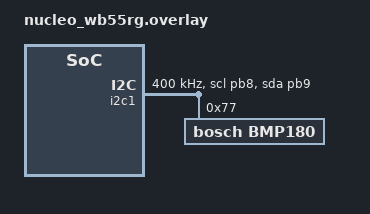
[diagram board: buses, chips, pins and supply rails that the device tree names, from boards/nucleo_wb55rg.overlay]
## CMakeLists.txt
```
cmake_minimum_required(VERSION 3.20.0)

find_package(Zephyr REQUIRED HINTS $ENV{ZEPHYR_BASE})

project(ble_beacon)

target_sources(app PRIVATE 
    src/main.c
    src/ble_service.c
)
```

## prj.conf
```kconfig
# Enable Bluetooth
CONFIG_BT=y
CONFIG_BT_PERIPHERAL=y
CONFIG_BT_DEVICE_NAME="STM32WB55"

# Enable advertising
CONFIG_BT_BROADCASTER=y

# Enable logging
CONFIG_LOG=y
CONFIG_BT_LOG_LEVEL_DBG=y

# Increase stack sizes if needed
CONFIG_MAIN_STACK_SIZE=2048
CONFIG_SYSTEM_WORKQUEUE_STACK_SIZE=2048

# Enable I2C and BMP180 sensor support
CONFIG_I2C=y
CONFIG_SENSOR=y
CONFIG_BMP180=y
```

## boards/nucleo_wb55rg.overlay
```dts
/ {
    aliases {
        my-i2c1 = &i2c1;
        temp-sensor = &bmp180; 
    };
};

&i2c1 {
	pinctrl-0 = <&i2c1_scl_pb8 &i2c1_sda_pb9>;
	pinctrl-names = "default";
	status = "okay";
	clock-frequency = <I2C_BITRATE_FAST>;

    bmp180: bmp180@77 {
		compatible = "bosch,bmp180";
		reg = <0x77>;
		osr-press = <1>;
		status = "okay";
	};
};
```

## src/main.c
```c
#include <zephyr/kernel.h>
#include <zephyr/device.h>
#include <zephyr/drivers/sensor.h>
#include <zephyr/logging/log.h>
#include <zephyr/drivers/sensor.h>
#include "ble_service.h"

LOG_MODULE_REGISTER(main, LOG_LEVEL_INF);

#define SENSOR_UPDATE_INTERVAL_SEC 5

static const int32_t sleep_time_ms = 100;


int main(void)
{
    int ret;

    LOG_INF("Starting BLE Beacon Application");

    const struct device *bmp180_dev = DEVICE_DT_GET(DT_ALIAS(temp_sensor));
    struct sensor_value temp, press;

    if (!device_is_ready(bmp180_dev)) {
        LOG_ERR("BMP180 device not ready");
        return -ENODEV;
    }
    LOG_INF("BMP180 sensor initialized successfully");

    /* Initialize BLE Service */
    ret = ble_service_init();
    if (ret) {
        LOG_ERR("Failed to initialize BLE service (err %d)", ret);
        return ret;
    }
    LOG_INF("BLE service initialized");

    while(1){
        ret = sensor_sample_fetch(bmp180_dev);
        if (ret < 0) {
            LOG_ERR("Failed to fetch sample (%d)", ret);
            k_msleep(sleep_time_ms);
            continue;
        }

        /* Get temperature */
        ret = sensor_channel_get(bmp180_dev, SENSOR_CHAN_AMBIENT_TEMP, &temp);
        if (ret == 0) {
            // Convert to float: val1 + (val2 / 1,000,000)
            float temp_celsius = temp.val1 + (temp.val2 / 1000000.0f);
            
            LOG_INF("Temperature: %.2f C", temp_celsius);
            
            ret = ble_service_update_temperature(temp_celsius);
            if (ret < 0) {
                LOG_WRN("Failed to update BLE temperature");
            }
        } else {
            LOG_ERR("Failed to get temperature channel (%d)", ret);
        }

        /* Get pressure */
        ret = sensor_channel_get(bmp180_dev, SENSOR_CHAN_PRESS, &press);
        if (ret == 0) {
            // BMP180 returns pressure in kPa
            // val1 = integer kPa, val2 = fractional kPa (in millionths)
            // Convert to Pascals: kPa * 1000
            
            float pressure_kpa = press.val1 + (press.val2 / 1000000.0f);
            uint32_t pressure_pa = (uint32_t)(pressure_kpa * 1000.0f);
            
            LOG_INF("Pressure: %u Pa (%.3f hPa)", pressure_pa, pressure_pa / 100.0f);
            
            ret = ble_service_update_pressure(pressure_pa);
            if (ret < 0) {
                LOG_WRN("Failed to update BLE pressure");
            }
        } else {
            LOG_ERR("Failed to get pressure channel (%d)", ret);
        }

        k_msleep(SENSOR_UPDATE_INTERVAL_SEC * 1000);
    }
    return 0;
}
```

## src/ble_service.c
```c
#include <zephyr/kernel.h>

// For advertising
#include <zephyr/bluetooth/bluetooth.h>
#include <zephyr/bluetooth/hci.h>

// For connection and GATT
#include <zephyr/bluetooth/conn.h>
#include <zephyr/bluetooth/uuid.h>
#include <zephyr/bluetooth/gatt.h>

// For logging
#include <zephyr/logging/log.h>

LOG_MODULE_REGISTER(ble_service, LOG_LEVEL_INF);
// Custom Sensor Service UUID
#define BT_UUID_SENSOR_SERVICE_VAL \
    BT_UUID_128_ENCODE(0x59E2FBF4,0x592A,0x45F6,0xAC84,0xBB3DCDB33F56)
#define BT_UUID_SENSOR_SERVICE \
    BT_UUID_DECLARE_128(BT_UUID_SENSOR_SERVICE_VAL)

// Temperature Characteristic UUID
#define BT_UUID_TEMP_CHAR_VAL \
    BT_UUID_128_ENCODE(0x57DF5C86,0x7899,0x42B3,0xADF0,0xBE2EFFE11E7E)
#define BT_UUID_TEMP_CHAR \
    BT_UUID_DECLARE_128(BT_UUID_TEMP_CHAR_VAL)

// Pressure Characteristic UUID
#define BT_UUID_PRESSURE_CHAR_VAL \
    BT_UUID_128_ENCODE(0x02CDC712,0xC8E2,0x4130,0xA9E8,0x2C10EE820BFC)
#define BT_UUID_PRESSURE_CHAR \
    BT_UUID_DECLARE_128(BT_UUID_PRESSURE_CHAR_VAL)

// Temperature Value
static int16_t temperature_value = 0;
static bool temp_notify_enabled = false;

// Pressure Value
static int32_t pressure_value = 0;
static bool pressure_notify_enabled = false;

static struct bt_conn *current_conn = NULL;

/**
 * Temperature CCC changed callback
 */
static void temp_ccc_cfg_changed(const struct bt_gatt_attr *attr, uint16_t value){
    temp_notify_enabled = (value == BT_GATT_CCC_NOTIFY);
    LOG_INF("Temperature notification %s", temp_notify_enabled ? "enabled" : "disabled");
}

/**
 * Pressure CCC changed callback
 */
static void pressure_ccc_cfg_changed(const struct bt_gatt_attr *attr, uint16_t value){
    pressure_notify_enabled = (value == BT_GATT_CCC_NOTIFY);
    LOG_INF("Pressure notification %s", pressure_notify_enabled ? "enabled" : "disabled");
}

/**
 * Temperature read callback
 */
static ssize_t read_temp(struct bt_conn *conn,
                         const struct bt_gatt_attr *attr,
                         void *buf, uint16_t len,
                         uint16_t offset)
{
    int16_t temp = temperature_value;
    return bt_gatt_attr_read(conn, attr, buf, len, offset, &temp, sizeof(temp));
}

/**
 * Pressure read callback
 */
static ssize_t read_pressure(struct bt_conn *conn,
                              const struct bt_gatt_attr *attr,
                              void *buf, uint16_t len,
                              uint16_t offset)
{
    int32_t pressure = pressure_value;
    return bt_gatt_attr_read(conn, attr, buf, len, offset, &pressure, sizeof(pressure));
}

/**
 * GATT Service Definition
 */
BT_GATT_SERVICE_DEFINE(sensor_svc,
    // The service declaration
    BT_GATT_PRIMARY_SERVICE(BT_UUID_SENSOR_SERVICE),

    // The temperature characteristic declaration
    BT_GATT_CHARACTERISTIC(BT_UUID_TEMP_CHAR,
                           BT_GATT_CHRC_READ | BT_GATT_CHRC_NOTIFY,             // Properties
                           BT_GATT_PERM_READ,                                   // Permissions
                           read_temp, NULL, NULL),                              // Callbacks: Read, Write, User Data

    // Descriptor: metadata for Client Characteristic Configuration                      
    BT_GATT_CCC(temp_ccc_cfg_changed, BT_GATT_PERM_READ | BT_GATT_PERM_WRITE),

    // The pressure characteristic declaration
    BT_GATT_CHARACTERISTIC(BT_UUID_PRESSURE_CHAR,
                           BT_GATT_CHRC_READ | BT_GATT_CHRC_NOTIFY,             // Properties
                           BT_GATT_PERM_READ,                                   // Permissions
                           read_pressure, NULL, NULL),                          // Callbacks: Read, Write, User Data

    // Descriptor: metadata for Client Characteristic Configuration                      
    BT_GATT_CCC(pressure_ccc_cfg_changed, BT_GATT_PERM_READ | BT_GATT_PERM_WRITE),
);

/**
 * Connection callback
 */
static void connected(struct bt_conn *conn, uint8_t err)
{
    if (err) {
        LOG_ERR("Connection failed (err 0x%02x)", err);
    } else {
        current_conn = bt_conn_ref(conn);
        LOG_INF("Connected");
    }
}

/**
 * Disconnection callback
 */
static void disconnected(struct bt_conn *conn, uint8_t reason)
{
    LOG_INF("Disconnected (reason 0x%02x)", reason);
    if (current_conn) {
        bt_conn_unref(current_conn);
        current_conn = NULL;
    }

    temp_notify_enabled = false;
    pressure_notify_enabled = false;
}

BT_CONN_CB_DEFINE(conn_callbacks) = {
    .connected = connected,
    .disconnected = disconnected,
};

/**
 * Advertising data
 */
static const struct bt_data ad[] = {
    BT_DATA_BYTES(BT_DATA_FLAGS, (BT_LE_AD_GENERAL | BT_LE_AD_NO_BREDR)),
    BT_DATA_BYTES(BT_DATA_UUID128_ALL, BT_UUID_SENSOR_SERVICE_VAL),
};

/**
 * Scan response data
 */
static const struct bt_data sd[] = {
    BT_DATA(BT_DATA_NAME_COMPLETE, CONFIG_BT_DEVICE_NAME, sizeof(CONFIG_BT_DEVICE_NAME) - 1),
};

int ble_service_init(void)
{
    int err;

    LOG_INF("Initializing BLE Sensor Service");

    // Enable Bluetooth Subsystem
    err = bt_enable(NULL);
    if (err) {
        LOG_ERR("Bluetooth init failed (err %d)", err);
        return err;
    }

    LOG_INF("Bluetooth initialized");

    // Start Advertising
    err = bt_le_adv_start(BT_LE_ADV_CONN_FAST_2, ad, ARRAY_SIZE(ad), sd, ARRAY_SIZE(sd));
    if (err) {
        LOG_ERR("Advertising failed to start (err %d)", err);
        return err;
    }

    LOG_INF("Advertising successfully started");

    return 0;
}

int ble_service_update_temperature(float temp_celsius)
{
    temperature_value = (int16_t)(temp_celsius * 100); // Convert to centi-degrees

    if (temp_notify_enabled && current_conn) {
        int err = bt_gatt_notify(current_conn, &sensor_svc.attrs[1], &temperature_value, sizeof(temperature_value));
        if (err) {
            LOG_ERR("Failed to send temperature notification (err %d)", err);
            return err;
        }
        LOG_DBG("Temperature notification sent: %d.%02d C", temperature_value / 100, temperature_value % 100);
    }

    return 0;
}

int ble_service_update_pressure(uint32_t pressure_pa)
{
    pressure_value = pressure_pa; 

    LOG_DBG("Pressure updated: %u Pa (%.2f hPa)", pressure_value, pressure_value / 100.0);
    if (pressure_notify_enabled && current_conn) {
        int err = bt_gatt_notify(current_conn, &sensor_svc.attrs[3], &pressure_value, sizeof(pressure_value));
        if (err) {
            LOG_ERR("Failed to send pressure notification (err %d)", err);
            return err;
        }
        LOG_DBG("Pressure notification sent: %u Pa", pressure_value);
    }

    return 0;
}

bool ble_service_is_temp_notify_enabled(void)
{
    return temp_notify_enabled;
}

bool ble_service_is_pressure_notify_enabled(void)
{
    return pressure_notify_enabled;
}
```

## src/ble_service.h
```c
#ifndef BLE_SERVICE_H
#define BLE_SERVICE_H

#include <zephyr/types.h>

int ble_service_init(void);
int ble_service_update_temperature(float temp_celsius);
int ble_service_update_pressure(uint32_t pressure_pa);
bool ble_service_is_temp_notify_enabled(void);
bool ble_service_is_pressure_notify_enabled(void);

#endif // BLE_SERVICE_H
```
